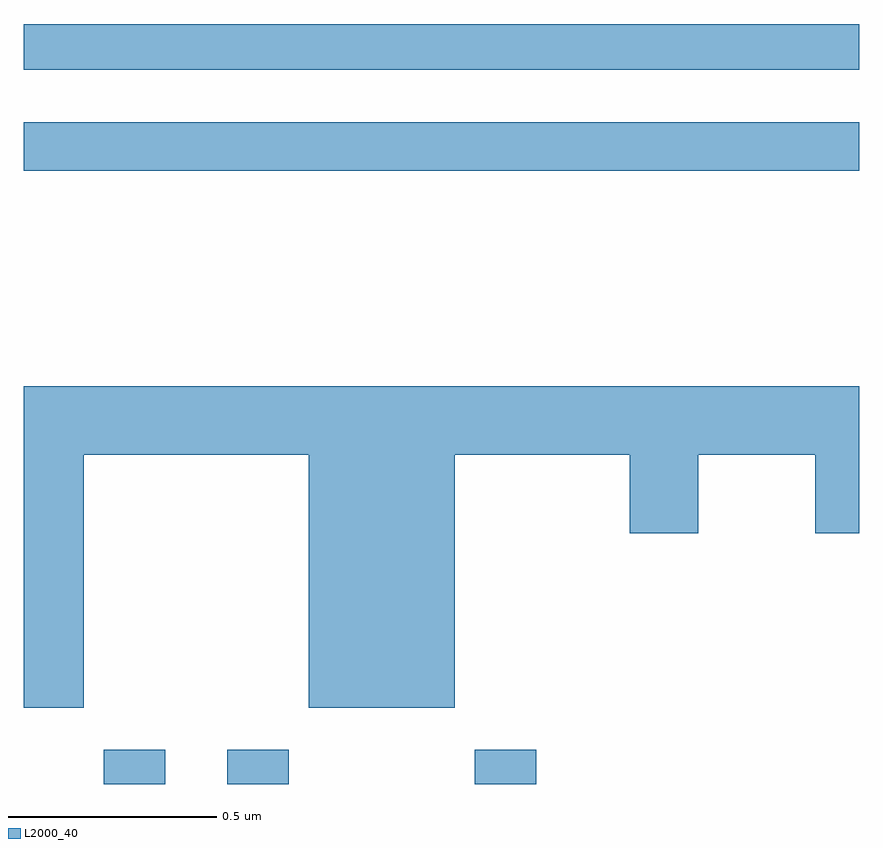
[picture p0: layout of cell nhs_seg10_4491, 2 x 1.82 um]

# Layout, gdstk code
import gdstk
lib = gdstk.Library(unit=1e-6, precision=1e-09)
def R(c, l, rs):  # rectangles x0, y0, x1, y1
    for r in rs: c.add(gdstk.rectangle(r[:2], r[2:], *l))
def P(c, l, *ps):  # polygons
    for p in ps: c.add(gdstk.Polygon(p, *l))
L2000_40 = (2000, 40)

nhs_seg10_4491 = lib.new_cell('nhs_seg10_4491')
R(nhs_seg10_4491, L2000_40, [(166.192,1327.5,166.339,1327.582), (166.487,1327.5,166.635,1327.582), (167.08,1327.5,167.227,1327.582), (166,1328.968,168,1329.084), (166,1329.21,168,1329.319)])
P(nhs_seg10_4491, L2000_40, [(166.144,1328.288),(166.682,1328.288),(166.682,1327.682),(167.032,1327.682),(167.032,1328.288),(167.45,1328.288),(167.45,1328.1),(167.614,1328.1),(167.614,1328.288),(167.894,1328.288),(167.894,1328.1),(168,1328.1),(168,1328.452),(166,1328.452),(166,1327.682),(166.144,1327.682)])

lib.write_gds('nhs_seg10_4491.gds')
